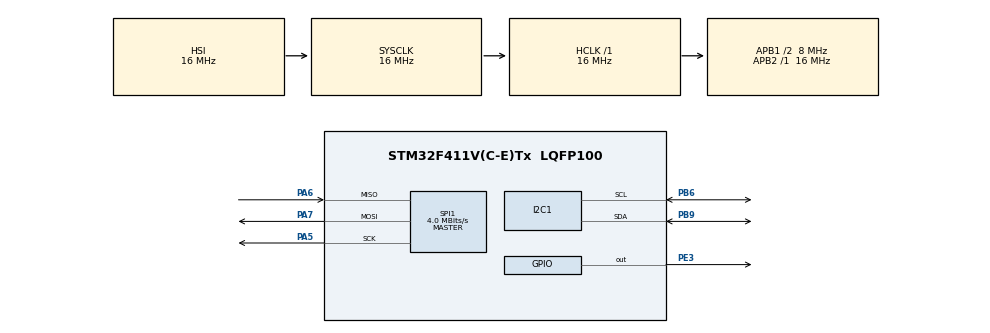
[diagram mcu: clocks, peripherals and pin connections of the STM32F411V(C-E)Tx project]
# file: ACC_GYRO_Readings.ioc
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Mcu.Family=STM32F4
Mcu.Name=STM32F411V(C-E)Tx
Mcu.Package=LQFP100
NVIC.PriorityGroup=NVIC_PRIORITYGROUP_4
PA5.Mode=Full_Duplex_Master
PA5.Signal=SPI1_SCK
PA6.Mode=Full_Duplex_Master
PA6.Signal=SPI1_MISO
PA7.Mode=Full_Duplex_Master
PA7.Signal=SPI1_MOSI
PB6.Mode=I2C
PB6.Signal=I2C1_SCL
PB9.Mode=I2C
PB9.Signal=I2C1_SDA
PE3.Signal=GPIO_Output
PH0\ -\ OSC_IN.Mode=HSE-External-Oscillator
PH0\ -\ OSC_IN.Signal=RCC_OSC_IN
PH1\ -\ OSC_OUT.Mode=HSE-External-Oscillator
PH1\ -\ OSC_OUT.Signal=RCC_OSC_OUT
ProjectManager.HeapSize=0x200
ProjectManager.StackSize=0x400
ProjectManager.TargetToolchain=STM32CubeIDE
RCC.48MHZClocksFreq_Value=50000000
RCC.AHBFreq_Value=16000000
RCC.APB1CLKDivider=RCC_HCLK_DIV2
RCC.APB1Freq_Value=8000000
RCC.APB1TimFreq_Value=16000000
RCC.APB2Freq_Value=16000000
RCC.APB2TimFreq_Value=16000000
RCC.CortexFreq_Value=16000000
RCC.HCLKFreq_Value=16000000
RCC.HSE_VALUE=8000000
RCC.HSI_VALUE=16000000
RCC.LSE_VALUE=32768
RCC.PLLM=4
RCC.PLLN=100
RCC.PLLSourceVirtual=RCC_PLLSOURCE_HSE
RCC.SYSCLKFreq_VALUE=16000000
RCC.VCOOutputFreq_Value=200000000
SPI1.BaudRatePrescaler=SPI_BAUDRATEPRESCALER_4
SPI1.CalculateBaudRate=4.0 MBits/s
SPI1.Direction=SPI_DIRECTION_2LINES
SPI1.Mode=SPI_MODE_MASTER
SPI1.VirtualType=VM_MASTER
board=custom

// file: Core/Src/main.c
/* USER CODE BEGIN Header */
/**
  ******************************************************************************
  * @file           : main.c
  * @brief          : Main program body
  ******************************************************************************
  * @attention
  *
  * Copyright (c) 2023 STMicroelectronics.
  * All rights reserved.
  *
  * This software is licensed under terms that can be found in the LICENSE file
  * in the root directory of this software component.
  * If no LICENSE file comes with this software, it is provided AS-IS.
  *
  ******************************************************************************
  */
/* USER CODE END Header */
#include "main.h"

/* USER CODE BEGIN Includes */
#define ACC_SENSOR_BUS hi2c1
#define GYRO_SENSOR_BUS hspi1
#include "lsm303agr_reg.h"
#include "i3g4250d_reg.h"
/* USER CODE END Includes */

I2C_HandleTypeDef hi2c1;

SPI_HandleTypeDef hspi1;

void SystemClock_Config(void);
static void MX_GPIO_Init(void);
static void MX_I2C1_Init(void);
static void MX_SPI1_Init(void);

/* USER CODE BEGIN 0 */
typedef struct
{
  void   *hbus;
  uint8_t i2c_address;
  GPIO_TypeDef *cs_port;
  uint16_t cs_pin;
} sensbus_t;

#define BOOT_TIME             5 //ms

static sensbus_t xl_bus  = {&ACC_SENSOR_BUS,
                            LSM303AGR_I2C_ADD_XL,
                            0,
                            0
                           };
static sensbus_t mag_bus = {&ACC_SENSOR_BUS,
                            LSM303AGR_I2C_ADD_MG,
                            0,
                            0
                           };
static sensbus_t gyr_bus = {&GYRO_SENSOR_BUS,
                            0,
                            GPIOE,
                            GPIO_PIN_3
                           };

static int16_t data_raw_acceleration[3];
static int16_t data_raw_magnetic[3];
static int16_t data_raw_temperature;
static float acceleration_mg[3];
static float magnetic_mG[3];
static float temperature_degC;
static int16_t data_raw_angular_rate[3];
static float angular_rate_mdps[3];
static uint8_t whoamI, rst;

static int32_t platform_write(void *handle, uint8_t reg, const uint8_t *bufp, uint16_t len);
static int32_t platform_read(void *handle, uint8_t reg, uint8_t *bufp, uint16_t len);

void lsm303agr_init(stmdev_ctx_t *dev_ctx_xl, stmdev_ctx_t *dev_ctx_mg);
void lsm303agr_read(stmdev_ctx_t *dev_ctx_xl, stmdev_ctx_t *dev_ctx_mg);
void i3g4250d_init(stmdev_ctx_t *dev_ctx);
void i3g4250d_read(stmdev_ctx_t *dev_ctx);
/* USER CODE END 0 */

int main(void)
{

  /* MCU Configuration--------------------------------------------------------*/

  /* Reset of all peripherals, Initializes the Flash interface and the Systick. */
  HAL_Init();

  /* Configure the system clock */
  SystemClock_Config();

  /* Initialize all configured peripherals */
  MX_GPIO_Init();
  MX_I2C1_Init();
  MX_SPI1_Init();
  /* USER CODE BEGIN 2 */
  stmdev_ctx_t stmdev_ctx_xl;
  stmdev_ctx_t stmdev_ctx_mg;
  stmdev_ctx_t stmdev_ctx_gyr;
  lsm303agr_init(&stmdev_ctx_xl, &stmdev_ctx_mg);
  i3g4250d_init(&stmdev_ctx_gyr);

  /* USER CODE END 2 */

  /* Infinite loop */
  /* USER CODE BEGIN WHILE */
  while (1)
  {
	  lsm303agr_read(&stmdev_ctx_xl, &stmdev_ctx_mg);
	  i3g4250d_read(&stmdev_ctx_gyr);

	  HAL_Delay(100);
    /* USER CODE END WHILE */

  }
}

void SystemClock_Config(void)
{
  RCC_OscInitTypeDef RCC_OscInitStruct = {0};
  RCC_ClkInitTypeDef RCC_ClkInitStruct = {0};

  /** Configure the main internal regulator output voltage
  */
  __HAL_RCC_PWR_CLK_ENABLE();
  __HAL_PWR_VOLTAGESCALING_CONFIG(PWR_REGULATOR_VOLTAGE_SCALE1);

  /** Initializes the RCC Oscillators according to the specified parameters
  * in the RCC_OscInitTypeDef structure.
  */
  RCC_OscInitStruct.OscillatorType = RCC_OSCILLATORTYPE_HSI;
  RCC_OscInitStruct.HSIState = RCC_HSI_ON;
  RCC_OscInitStruct.HSICalibrationValue = RCC_HSICALIBRATION_DEFAULT;
  RCC_OscInitStruct.PLL.PLLState = RCC_PLL_NONE;
  if (HAL_RCC_OscConfig(&RCC_OscInitStruct) != HAL_OK)
  {
    Error_Handler();
  }

  /** Initializes the CPU, AHB and APB buses clocks
  */
  RCC_ClkInitStruct.ClockType = RCC_CLOCKTYPE_HCLK|RCC_CLOCKTYPE_SYSCLK
                              |RCC_CLOCKTYPE_PCLK1|RCC_CLOCKTYPE_PCLK2;
  RCC_ClkInitStruct.SYSCLKSource = RCC_SYSCLKSOURCE_HSI;
  RCC_ClkInitStruct.AHBCLKDivider = RCC_SYSCLK_DIV1;
  RCC_ClkInitStruct.APB1CLKDivider = RCC_HCLK_DIV2;
  RCC_ClkInitStruct.APB2CLKDivider = RCC_HCLK_DIV1;

  if (HAL_RCC_ClockConfig(&RCC_ClkInitStruct, FLASH_LATENCY_0) != HAL_OK)
  {
    Error_Handler();
  }
}

static void MX_I2C1_Init(void)
{

  hi2c1.Instance = I2C1;
  hi2c1.Init.ClockSpeed = 100000;
  hi2c1.Init.DutyCycle = I2C_DUTYCYCLE_2;
  hi2c1.Init.OwnAddress1 = 0;
  hi2c1.Init.AddressingMode = I2C_ADDRESSINGMODE_7BIT;
  hi2c1.Init.DualAddressMode = I2C_DUALADDRESS_DISABLE;
  hi2c1.Init.OwnAddress2 = 0;
  hi2c1.Init.GeneralCallMode = I2C_GENERALCALL_DISABLE;
  hi2c1.Init.NoStretchMode = I2C_NOSTRETCH_DISABLE;
  if (HAL_I2C_Init(&hi2c1) != HAL_OK)
  {
    Error_Handler();
  }

}

static void MX_SPI1_Init(void)
{

  /* SPI1 parameter configuration*/
  hspi1.Instance = SPI1;
  hspi1.Init.Mode = SPI_MODE_MASTER;
  hspi1.Init.Direction = SPI_DIRECTION_2LINES;
  hspi1.Init.DataSize = SPI_DATASIZE_8BIT;
  hspi1.Init.CLKPolarity = SPI_POLARITY_LOW;
  hspi1.Init.CLKPhase = SPI_PHASE_1EDGE;
  hspi1.Init.NSS = SPI_NSS_SOFT;
  hspi1.Init.BaudRatePrescaler = SPI_BAUDRATEPRESCALER_4;
  hspi1.Init.FirstBit = SPI_FIRSTBIT_MSB;
  hspi1.Init.TIMode = SPI_TIMODE_DISABLE;
  hspi1.Init.CRCCalculation = SPI_CRCCALCULATION_DISABLE;
  hspi1.Init.CRCPolynomial = 10;
  if (HAL_SPI_Init(&hspi1) != HAL_OK)
  {
    Error_Handler();
  }

}

static void MX_GPIO_Init(void)
{
  GPIO_InitTypeDef GPIO_InitStruct = {0};

  /* GPIO Ports Clock Enable */
  __HAL_RCC_GPIOE_CLK_ENABLE();
  __HAL_RCC_GPIOH_CLK_ENABLE();
  __HAL_RCC_GPIOA_CLK_ENABLE();
  __HAL_RCC_GPIOB_CLK_ENABLE();

  /*Configure GPIO pin Output Level */
  HAL_GPIO_WritePin(GPIOE, GPIO_PIN_3, GPIO_PIN_RESET);

  /*Configure GPIO pin : PE3 */
  GPIO_InitStruct.Pin = GPIO_PIN_3;
  GPIO_InitStruct.Mode = GPIO_MODE_OUTPUT_PP;
  GPIO_InitStruct.Pull = GPIO_NOPULL;
  GPIO_InitStruct.Speed = GPIO_SPEED_FREQ_LOW;
  HAL_GPIO_Init(GPIOE, &GPIO_InitStruct);

}

/* USER CODE BEGIN 4 */
void lsm303agr_init(stmdev_ctx_t *dev_ctx_xl, stmdev_ctx_t *dev_ctx_mg)
{
	/* Initialize mems driver interface */
	dev_ctx_xl->write_reg = platform_write;
	dev_ctx_xl->read_reg = platform_read;
	dev_ctx_xl->handle = (void *)&xl_bus;

	dev_ctx_mg->write_reg = platform_write;
	dev_ctx_mg->read_reg = platform_read;
	dev_ctx_mg->handle = (void *)&mag_bus;

	HAL_Delay(BOOT_TIME);

	/* Check device ID */
	whoamI = 0;
	lsm303agr_xl_device_id_get(dev_ctx_xl, &whoamI);

	if ( whoamI != LSM303AGR_ID_XL )
		while (1); /*manage here device not found */

	whoamI = 0;
	lsm303agr_mag_device_id_get(dev_ctx_mg, &whoamI);

	if ( whoamI != LSM303AGR_ID_MG )
		while (1); /*manage here device not found */

	/* Restore default configuration for magnetometer */
	lsm303agr_mag_reset_set(dev_ctx_mg, PROPERTY_ENABLE);

	do {
		lsm303agr_mag_reset_get(dev_ctx_mg, &rst);
	} while (rst);

	/* Enable Block Data Update */
	lsm303agr_xl_block_data_update_set(dev_ctx_xl, PROPERTY_ENABLE);
	lsm303agr_mag_block_data_update_set(dev_ctx_mg, PROPERTY_ENABLE);
	/* Set Output Data Rate */
	lsm303agr_xl_data_rate_set(dev_ctx_xl, LSM303AGR_XL_ODR_1Hz);
	lsm303agr_mag_data_rate_set(dev_ctx_mg, LSM303AGR_MG_ODR_10Hz);
	/* Set accelerometer full scale */
	lsm303agr_xl_full_scale_set(dev_ctx_xl, LSM303AGR_2g);
	/* Set / Reset magnetic sensor mode */
	lsm303agr_mag_set_rst_mode_set(dev_ctx_mg, LSM303AGR_SENS_OFF_CANC_EVERY_ODR);
	/* Enable temperature compensation on mag sensor */
	lsm303agr_mag_offset_temp_comp_set(dev_ctx_mg, PROPERTY_ENABLE);
	/* Enable temperature sensor */
	lsm303agr_temperature_meas_set(dev_ctx_xl, LSM303AGR_TEMP_ENABLE);
	/* Set device in continuous mode */
	lsm303agr_xl_operating_mode_set(dev_ctx_xl, LSM303AGR_HR_12bit);
	/* Set magnetometer in continuous mode */
	lsm303agr_mag_operating_mode_set(dev_ctx_mg, LSM303AGR_CONTINUOUS_MODE);
}

void lsm303agr_read(stmdev_ctx_t *dev_ctx_xl, stmdev_ctx_t *dev_ctx_mg)
{
	/* Read output only if new value is available */
	lsm303agr_reg_t reg;
	lsm303agr_xl_status_get(dev_ctx_xl, &reg.status_reg_a);

	if (reg.status_reg_a.zyxda)
	{
	  /* Read accelerometer data */
	  memset(data_raw_acceleration, 0x00, 3 * sizeof(int16_t));
	  lsm303agr_acceleration_raw_get(dev_ctx_xl, data_raw_acceleration);
	  acceleration_mg[0] = lsm303agr_from_fs_2g_hr_to_mg(data_raw_acceleration[0]);
	  acceleration_mg[1] = lsm303agr_from_fs_2g_hr_to_mg(data_raw_acceleration[1]);
	  acceleration_mg[2] = lsm303agr_from_fs_2g_hr_to_mg(data_raw_acceleration[2]);
	}

	lsm303agr_mag_status_get(dev_ctx_mg, &reg.status_reg_m);

	if (reg.status_reg_m.zyxda)
	{
	  /* Read magnetic field data */
	  memset(data_raw_magnetic, 0x00, 3 * sizeof(int16_t));
	  lsm303agr_magnetic_raw_get(dev_ctx_mg, data_raw_magnetic);
	  magnetic_mG[0] = lsm303agr_from_lsb_to_mgauss(data_raw_magnetic[0]);
	  magnetic_mG[1] = lsm303agr_from_lsb_to_mgauss(data_raw_magnetic[1]);
	  magnetic_mG[2] = lsm303agr_from_lsb_to_mgauss(data_raw_magnetic[2]);
	}

	lsm303agr_temp_data_ready_get(dev_ctx_xl, &reg.byte);

	if (reg.byte)
	{
	  /* Read temperature data */
	  memset(&data_raw_temperature, 0x00, sizeof(int16_t));
	  lsm303agr_temperature_raw_get(dev_ctx_xl, &data_raw_temperature);
	  temperature_degC = lsm303agr_from_lsb_hr_to_celsius(data_raw_temperature);
	}
}

void i3g4250d_init(stmdev_ctx_t *dev_ctx)
{
	/* Uncomment to use interrupts on drdy */
	//i3g4250d_int2_route_t int2_reg;
	/* Initialize mems driver interface */
	dev_ctx->write_reg = platform_write;
	dev_ctx->read_reg = platform_read;
	dev_ctx->handle = &gyr_bus;
	/* Initialize platform specific hardware */
	HAL_Delay(BOOT_TIME);
	HAL_Delay(BOOT_TIME);
	/* Check device ID */
	whoamI = 0;
	i3g4250d_device_id_get(dev_ctx, &whoamI);

	if (whoamI != I3G4250D_ID)
	while (1); /*manage here device not found */

	/* Configure filtering chain -  Gyroscope - High Pass */
	i3g4250d_filter_path_set(dev_ctx, I3G4250D_LPF1_HP_ON_OUT);
	i3g4250d_hp_bandwidth_set(dev_ctx, I3G4250D_HP_LEVEL_3);
	/* Uncomment to use interrupts on drdy */
	//i3g4250d_pin_int2_route_get(&dev_ctx, &int2_reg);
	//int2_reg.i2_drdy = PROPERTY_ENABLE;
	//i3g4250d_pin_int2_route_set(&dev_ctx, int2_reg);
	/* Set Output Data Rate */
	i3g4250d_data_rate_set(dev_ctx, I3G4250D_ODR_100Hz);
}

void i3g4250d_read(stmdev_ctx_t *dev_ctx)
{
	uint8_t reg = 0;
	/* Read output only if new value is available */
	i3g4250d_flag_data_ready_get(dev_ctx, &reg);

	if (reg) {
	  /* Read angular rate data */
	  memset(data_raw_angular_rate, 0x00, 3 * sizeof(int16_t));
	  i3g4250d_angular_rate_raw_get(dev_ctx, data_raw_angular_rate);
	  angular_rate_mdps[0] = i3g4250d_from_fs245dps_to_mdps(
							   data_raw_angular_rate[0]);
	  angular_rate_mdps[1] = i3g4250d_from_fs245dps_to_mdps(
							   data_raw_angular_rate[1]);
	  angular_rate_mdps[2] = i3g4250d_from_fs245dps_to_mdps(
							   data_raw_angular_rate[2]);
	}
}

static int32_t platform_write(void *handle, uint8_t reg, const uint8_t *bufp, uint16_t len)
{

	sensbus_t *sensbus = (sensbus_t *)handle;

	if ((sensbus->i2c_address == 0) && (sensbus->cs_port == GPIOE))
	{
		/* Write multiple command */
		reg |= 0x40;
		HAL_GPIO_WritePin(GPIOE, GPIO_PIN_3, GPIO_PIN_RESET);
		HAL_SPI_Transmit(handle, &reg, 1, 1000);
		HAL_SPI_Transmit(handle, (uint8_t*) bufp, len, 1000);
		HAL_GPIO_WritePin(GPIOE, GPIO_PIN_3, GPIO_PIN_SET);
	}
	else
	{
		if (sensbus->i2c_address == LSM303AGR_I2C_ADD_XL) {
		    /* enable auto incremented in multiple read/write commands */
			reg |= 0x80;
		}

		  HAL_I2C_Mem_Write(sensbus->hbus, sensbus->i2c_address, reg,
		                    I2C_MEMADD_SIZE_8BIT, (uint8_t*) bufp, len, 1000);
	}

	return 0;
}

static int32_t platform_read(void *handle, uint8_t reg, uint8_t *bufp, uint16_t len)
{

	sensbus_t *sensbus = (sensbus_t *)handle;

	if ((sensbus->i2c_address == 0) && (sensbus->cs_port == GPIOE))
	{
		/* Read multiple command */
//		reg |= 0xC0;
		reg |= 0x80;
		HAL_GPIO_WritePin(GPIOE, GPIO_PIN_3, GPIO_PIN_RESET);
		HAL_SPI_Transmit(&hspi1, &reg, 1, 200);
		HAL_SPI_Receive(&hspi1, bufp, len, 200);
		HAL_GPIO_WritePin(GPIOE, GPIO_PIN_3, GPIO_PIN_SET);
	}
	else
	{
		if (sensbus->i2c_address == LSM303AGR_I2C_ADD_XL) {
		//    /* enable auto incremented in multiple read/write commands */
		    reg |= 0x80;
		}

		  HAL_I2C_Mem_Read(sensbus->hbus, sensbus->i2c_address, reg,
		                   I2C_MEMADD_SIZE_8BIT, bufp, len, 1000);
	}

	return 0;
}

/* USER CODE END 4 */

void Error_Handler(void)
{
  __disable_irq();
  while (1)
  {
  }
}
